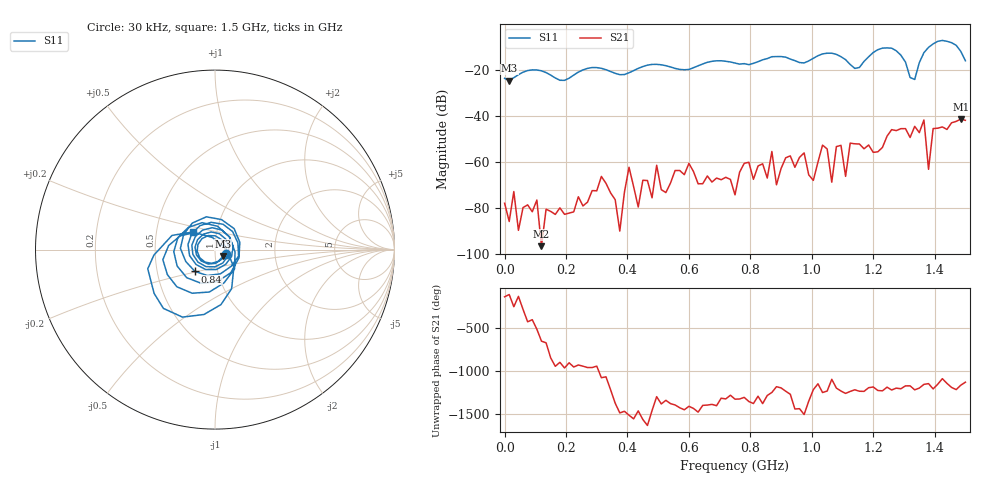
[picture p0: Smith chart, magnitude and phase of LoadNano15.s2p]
# HZ S RI R 50
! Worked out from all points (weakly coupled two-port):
!   101 points, 30 kHz to 1.5 GHz, reference 50 ohm
!   highest |S21| = -41.44 dB at 1.485 GHz (marker M1); lowest = -96.8 dB at 120 MHz (marker M2)
!   lowest |S11| = -24.7 dB at 15.03 MHz (marker M3), VSWR 1.12, Z = 54.5 - j4.06 ohm
!   |S11| at or under -10 dB: start of sweep to 1.382 GHz; 1.474 GHz to end of sweep
!   S12 and S22 are empty: the file has one direction only
!   S11 on the Smith chart (normalised r, x): 30 kHz: 1.13, -0.06; 840 MHz: 0.78, -0.20; 1.5 GHz: 0.77, +0.15
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30000  0.0603 -0.0247  -9.4e-05 -8.16e-05  0 0  0 0
1.50297e7  0.0448 -0.0371  -1.94e-05 -4.59e-05  0 0  0 0
1.200276e8  -0.073 0.061  5.58e-06 1.33e-05  0 0  0 0
2.550249e8  -0.0769 -0.0632  -7.99e-05 7.37e-05  0 0  0 0
3.150237e8  -0.065 0.0861  0.000476 3.12e-05  0 0  0 0
3.750225e8  0.0769 0.0148  2.2e-05 -2.16e-05  0 0  0 0
4.050219e8  0.0441 -0.0742  0.000251 -0.000713  0 0  0 0
4.350213e8  -0.0506 -0.0948  9.63e-05 -3.61e-05  0 0  0 0
5.100198e8  -0.0689 0.1087  0.000123 0.000213  0 0  0 0
7.50015e8  0.0984 0.1002  -8.05e-05 0.000171  0 0  0 0
8.400132e8  -0.1112 -0.122  0.000399 0.000805  0 0  0 0
1.00501e9  0.0131 -0.1778  -0.000276 -0.000277  0 0  0 0
1.035009e9  -0.1574 -0.1567  -0.00224 -0.000485  0 0  0 0
1.065009e9  -0.2298 -0.0114  0.000346 -9.22e-05  0 0  0 0
1.080008e9  -0.2063 0.0674  -0.000951 -0.0019  0 0  0 0
1.110008e9  -0.0716 0.15  -0.000478 -1.57e-05  0 0  0 0
1.260005e9  -0.2905 -0.0564  -0.00374 -0.00329  0 0  0 0
1.365003e9  0.0927 -0.2175  0.0023 -0.00777  0 0  0 0
1.380002e9  0.0332 -0.3064  0.000292 -0.000616  0 0  0 0
1.395002e9  -0.0613 -0.3615  -0.00309 -0.00425  0 0  0 0
1.485e9  -0.2394 0.0791  0.00107 -0.0084  0 0  0 0
1.5e9  -0.1231 0.0983  0.00529 -0.00594  0 0  0 0
